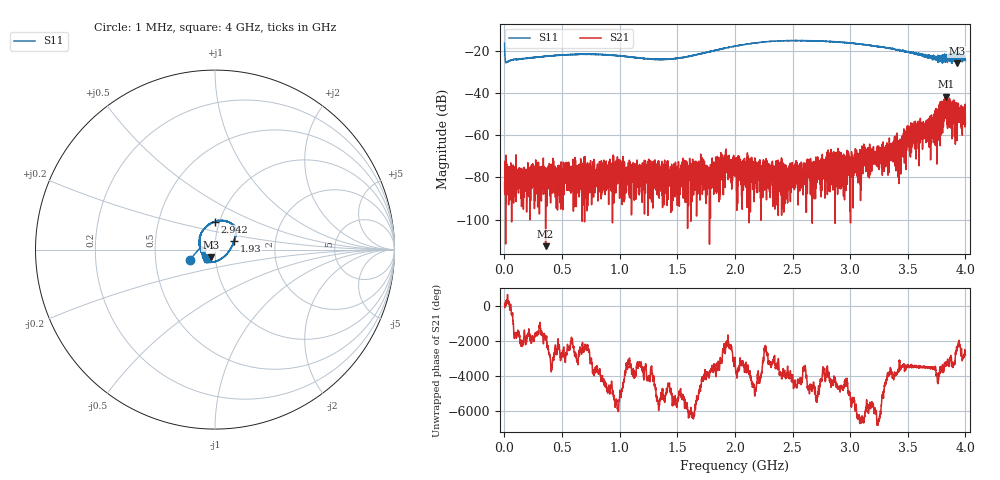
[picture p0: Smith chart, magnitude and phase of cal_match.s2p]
!Created with skrf (http://scikit-rf.org).
# GHz S RI R 50.0
!freq ReS11 ImS11 ReS21 ImS21 ReS12 ImS12 ReS22 ImS22
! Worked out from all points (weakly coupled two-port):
!   4000 points, 1 MHz to 4 GHz, reference 50 ohm
!   highest |S21| = -41.86 dB at 3.836 GHz (marker M1); lowest = -112.5 dB at 357 MHz (marker M2)
!   lowest |S11| = -26.0 dB at 3.925 GHz (marker M3), VSWR 1.11, Z = 47.5 - j4.17 ohm
!   |S11| at or under -10 dB: start of sweep to end of sweep
!   S12 and S22 are empty: the file has one direction only
!   S11 on the Smith chart (normalised r, x): 1 MHz: 0.75, -0.09; 1.93 GHz: 1.23, +0.11; 2.942 GHz: 0.95, +0.30; 4 GHz: 0.95, -0.10
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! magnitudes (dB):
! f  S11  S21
! 1 MHz  -16.4  -82.6
! 27 MHz  -25.4  -76.0
! 357 MHz  -22.7  -112.5
! 668 MHz  -21.7  -76.5
! 983 MHz  -22.5  -73.9
! 1.334 GHz  -24.3  -72.2
! 1.779 GHz  -20.6  -111.5
! 1.93 GHz  -18.7  -77.7
! 2.001 GHz  -18.0  -72.5
! 2.077 GHz  -17.2  -78.8
! 2.667 GHz  -15.5  -84.5
! 2.847 GHz  -15.8  -78.3
! 2.942 GHz  -16.2  -88.7
! 3.079 GHz  -16.9  -70.9
! 3.134 GHz  -17.2  -74.2
! 3.334 GHz  -18.9  -71.7
! 3.436 GHz  -19.9  -66.5
! 3.55 GHz  -20.8  -58.4
! 3.713 GHz  -23.0  -54.2
! 3.836 GHz  -23.0  -41.9
! 3.925 GHz  -26.0  -55.6
! 4 GHz  -24.7  -54.7
